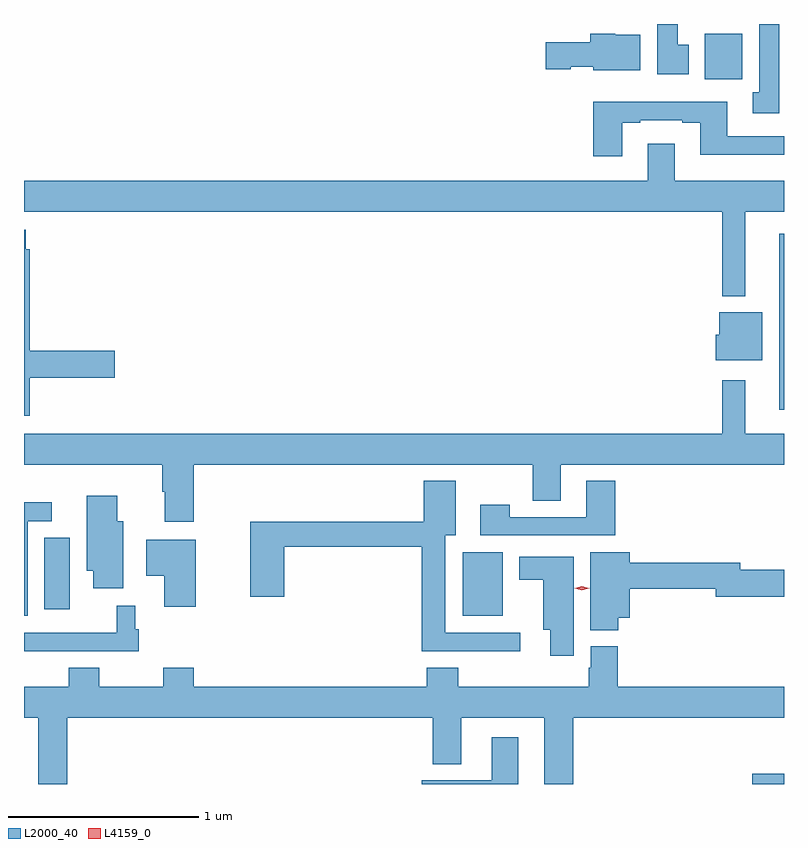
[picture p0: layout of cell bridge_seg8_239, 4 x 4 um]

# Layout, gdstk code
import gdstk
lib = gdstk.Library(unit=1e-6, precision=1e-09)
def R(c, l, rs):  # rectangles x0, y0, x1, y1
    for r in rs: c.add(gdstk.rectangle(r[:2], r[2:], *l))
def P(c, l, *ps):  # polygons
    for p in ps: c.add(gdstk.Polygon(p, *l))
L2000_40 = (2000, 40)
L4159_0 = (4159, 0)

bridge_seg8_239 = lib.new_cell('bridge_seg8_239')
R(bridge_seg8_239, L2000_40, [(290.745,1140.128,290.911,1140.183), (289.22,1141.013,289.432,1141.348), (287.018,1141.047,287.152,1141.423), (290.885,1142.097,290.911,1143.025), (290.495,1143.836,290.692,1144.078)])
P(bridge_seg8_239, L2000_40, [(290.887,1144.128),(290.78,1144.128),(290.78,1143.77),(290.747,1143.77),(290.747,1143.657),(290.887,1143.657)],
  [(290.41,1144.02),(290.353,1144.02),(290.353,1144.128),(290.243,1144.128),(290.243,1143.864),(290.41,1143.864)],
  [(290.155,1144.072),(290.022,1144.072),(290.022,1144.078),(289.892,1144.078),(289.892,1144.032),(289.656,1144.032),(289.656,1143.89),(289.788,1143.89),(289.788,1143.902),(289.908,1143.902),(289.908,1143.884),(290.155,1143.884)],
  [(290.059,1143.609),(290.155,1143.609),(290.155,1143.621),(290.375,1143.621),(290.375,1143.609),(290.471,1143.609),(290.471,1143.44),(290.911,1143.44),(290.911,1143.537),(290.611,1143.537),(290.611,1143.718),(289.907,1143.718),(289.907,1143.432),(290.059,1143.432)],
  [(290.707,1143.14),(290.911,1143.14),(290.911,1143.304),(290.335,1143.304),(290.335,1143.499),(290.195,1143.499),(290.195,1143.304),(286.911,1143.304),(286.911,1143.14),(290.586,1143.14),(290.586,1142.696),(290.707,1142.696)],
  [(286.94,1142.266),(287.389,1142.266),(287.389,1142.408),(286.94,1142.408),(286.94,1142.942),(286.921,1142.942),(286.921,1143.046),(286.911,1143.046),(286.911,1142.067),(286.94,1142.067)],
  [(290.797,1142.611),(290.57,1142.611),(290.57,1142.493),(290.552,1142.493),(290.552,1142.357),(290.797,1142.357)],
  [(287.804,1141.808),(289.588,1141.808),(289.588,1141.618),(289.735,1141.618),(289.735,1141.808),(290.911,1141.808),(290.911,1141.972),(290.707,1141.972),(290.707,1142.254),(290.586,1142.254),(290.586,1141.972),(286.911,1141.972),(286.911,1141.808),(287.639,1141.808),(287.639,1141.667),(287.651,1141.667),(287.651,1141.509),(287.804,1141.509)],
  [(289.522,1140.924),(289.129,1140.924),(289.129,1141.436),(289.183,1141.436),(289.183,1141.723),(289.016,1141.723),(289.016,1141.507),(288.103,1141.507),(288.103,1141.113),(288.281,1141.113),(288.281,1141.378),(289.004,1141.378),(289.004,1140.827),(289.522,1140.827)],
  [(290.024,1141.723),(289.871,1141.723),(289.871,1141.533),(289.467,1141.533),(289.467,1141.597),(289.311,1141.597),(289.311,1141.437),(290.024,1141.437)],
  [(287.434,1141.51),(287.401,1141.51),(287.401,1141.645),(287.24,1141.645),(287.24,1141.25),(287.276,1141.25),(287.276,1141.158),(287.434,1141.158)],
  [(286.93,1141.512),(287.056,1141.512),(287.056,1141.61),(286.911,1141.61),(286.911,1141.014),(286.93,1141.014)],
  [(287.814,1141.414),(287.555,1141.414),(287.555,1141.223),(287.648,1141.223),(287.648,1141.062),(287.814,1141.062)],
  [(290.039,1141.004),(290.098,1141.004),(290.098,1141.156),(290.552,1141.156),(290.552,1141.114),(290.911,1141.114),(290.911,1141.256),(290.68,1141.256),(290.68,1141.292),(290.098,1141.292),(290.098,1141.348),(289.892,1141.348),(289.892,1140.937),(290.039,1140.937)],
  [(289.804,1141.324),(289.517,1141.324),(289.517,1141.202),(289.643,1141.202),(289.643,1140.941),(289.682,1140.941),(289.682,1140.804),(289.804,1140.804)],
  [(287.516,1140.942),(287.497,1140.942),(287.497,1141.066),(287.398,1141.066),(287.398,1140.924),(286.911,1140.924),(286.911,1140.828),(287.516,1140.828)],
  [(290.911,1140.64),(290.036,1140.64),(290.036,1140.852),(289.895,1140.852),(289.895,1140.741),(289.883,1140.741),(289.883,1140.64),(289.196,1140.64),(289.196,1140.739),(289.031,1140.739),(289.031,1140.64),(287.804,1140.64),(287.804,1140.739),(287.644,1140.739),(287.644,1140.64),(287.307,1140.64),(287.307,1140.739),(287.147,1140.739),(287.147,1140.64),(286.911,1140.64),(286.911,1140.476),(286.985,1140.476),(286.985,1140.128),(287.138,1140.128),(287.138,1140.476),(289.061,1140.476),(289.061,1140.233),(289.213,1140.233),(289.213,1140.476),(289.649,1140.476),(289.649,1140.128),(289.802,1140.128),(289.802,1140.476),(290.911,1140.476)],
  [(289.513,1140.373),(289.373,1140.373),(289.373,1140.148),(289.004,1140.148),(289.004,1140.128),(289.513,1140.128)])
P(bridge_seg8_239, L4159_0, [(289.847,1141.148),(289.809,1141.158),(289.809,1141.158),(289.809,1141.159),(289.847,1141.168),(289.885,1141.159),(289.885,1141.158),(289.885,1141.158)])

lib.write_gds('bridge_seg8_239.gds')
